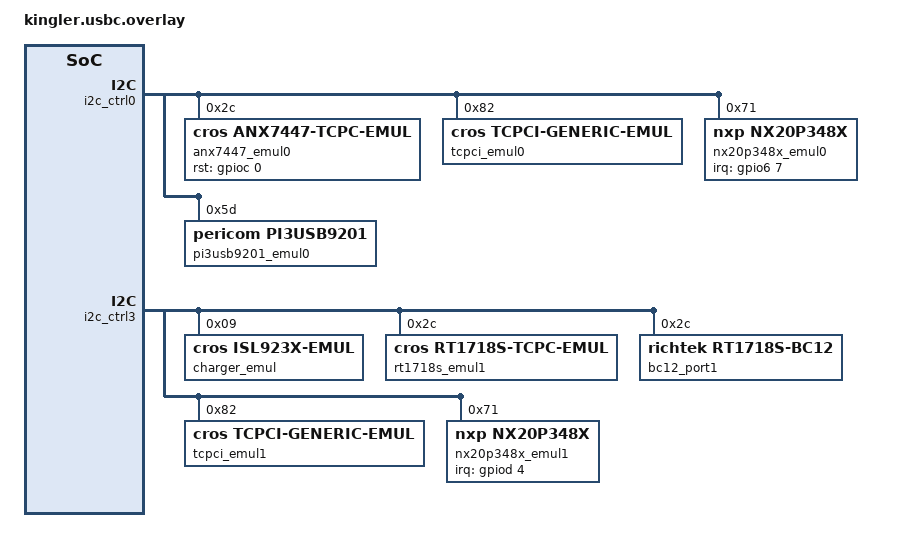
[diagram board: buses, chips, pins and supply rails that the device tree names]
/* Copyright 2023 The ChromiumOS Authors
 * Use of this source code is governed by a BSD-style license that can be
 * found in the LICENSE file.
 */

#include <zephyr/dt-bindings/gpio/gpio.h>
#include <dt-bindings/usb_pd_tcpm.h>

#include "common.dtsi"
#include "../program/corsola/npcx_interrupts.dtsi"
#include "../program/corsola/npcx_gpio.dtsi"
#include "../program/corsola/usba.dtsi"
#include "../program/corsola/power_signal.dtsi"

/ {
	usbc {
		port0@0 {
			bc12 = <&pi3usb9201_emul0>;
			tcpc = <&anx7447_emul0>;
			ppc = <&nx20p348x_emul0>;
			chg = <&charger_emul>;
			usb-mux-chain-0 {
				compatible = "cros-ec,usb-mux-chain";
				usb-muxes = <&virtual_mux_0>;
			};
		};

		port1@1 {
			/* We have rt1718s emulator, but use tcpci_emul instead
			 * for better test integration of the GPIO pin control.
			 */
			bc12 = <&bc12_port1>;
			tcpc = <&rt1718s_emul1>;
			ppc = <&nx20p348x_emul1>;
			usb_mux_chain_1_hdmi_db: usb-mux-chain-1-hdmi-db {
				compatible = "cros-ec,usb-mux-chain";
				alternative-chain;
				usb-muxes = <&virtual_mux_1>;
			};
		};
	};

	batteries {
		default_battery: lgc_ac17a8m {
			compatible = "lgc,ac17a8m", "battery-smart";
			/**
			 * this has to be strictly lower than the desired
			 * voltage in smart battery emulator (5000mV).
			 */
			voltage_min = <4000>;
		};
	};
};

&i2c_ctrl0 {
	anx7447_emul0: anx7447_emul@2c {
		compatible = "cros,anx7447-tcpc-emul";
		status = "okay";
		reg = <0x2c>;
		tcpc-flags = <(
			TCPC_FLAGS_VBUS_MONITOR |
			TCPC_FLAGS_ALERT_OD |
			TCPC_FLAGS_CONTROL_VCONN |
			TCPC_FLAGS_CONTROL_FRS)>;
		rst-gpios = <&gpioc 0 GPIO_ACTIVE_HIGH>;
	};

	/* TODO: drop this node when the Kconfig dependency is fixed. */
	tcpci_emul0: tcpci_emul@82 {
		compatible = "cros,tcpci-generic-emul";
		status = "okay";
		reg = <0x82>;
	};

	nx20p348x_emul0: nx20p348x_emul@71 {
		compatible = "nxp,nx20p348x";
		status = "okay";
		reg = <0x71>;
		irq-gpios = < &gpio6 7 GPIO_ACTIVE_HIGH>;
	};

	pi3usb9201_emul0: pi3usb9201@5d {
		compatible = "pericom,pi3usb9201";
		reg = <0x5d>;
		irq = <&int_usb_c0_bc12>;
	};
};

&i2c_ctrl3 {
	status = "okay";

	charger_emul: isl923x@9 {
		compatible = "cros,isl923x-emul";
		status = "okay";
		reg = <0x9>;
		battery = <&battery>;
	};

	rt1718s_emul1: rt1718s_emul@2c {
		compatible = "cros,rt1718s-tcpc-emul", "richtek,rt1718s-tcpc";
		status = "okay";
		reg = <0x2c>;
		tcpc-flags = <(TCPC_FLAGS_ALERT_OD |
			TCPC_FLAGS_CONTROL_VCONN |
			TCPC_FLAGS_CONTROL_FRS)>;
	};

	bc12_port1: rt1718s@2c {
		compatible = "richtek,rt1718s-bc12", "cros,i2c-mock";
		status = "okay";
		reg = <0x2c>;
	};

	/* TODO: drop this node when the Kconfig dependency is fixed. */
	tcpci_emul1: tcpci_emul@82 {
		compatible = "cros,tcpci-generic-emul";
		status = "okay";
		reg = <0x82>;
	};

	nx20p348x_emul1: nx20p348x_emul@71 {
	        compatible = "nxp,nx20p348x";
	        status = "okay";
	        reg = <0x71>;
		irq-gpios = < &gpiod 4 GPIO_ACTIVE_HIGH >;
	};
};
